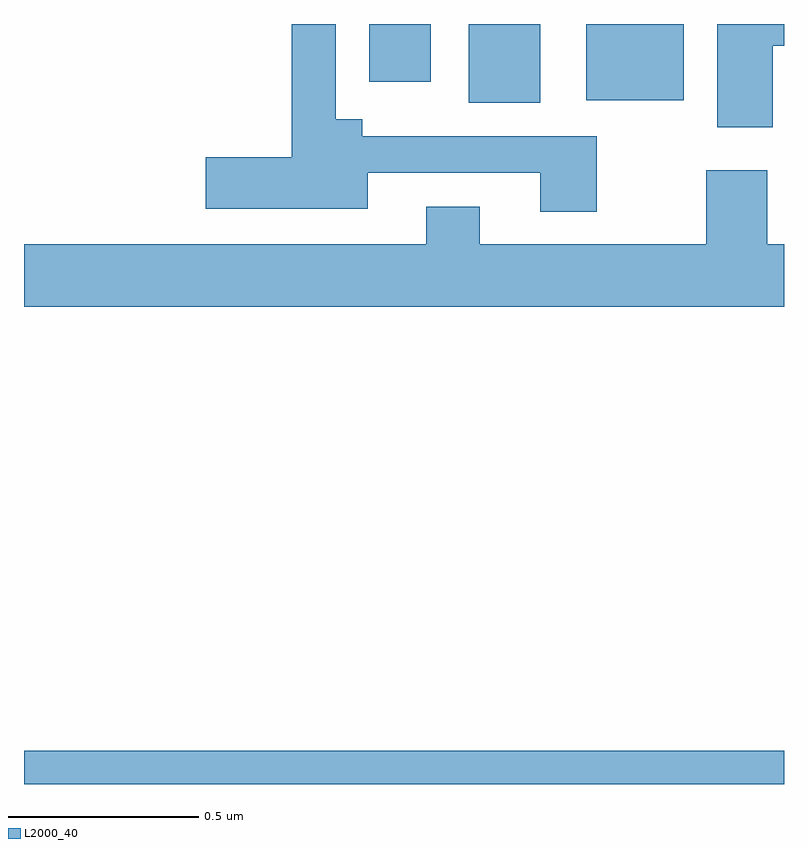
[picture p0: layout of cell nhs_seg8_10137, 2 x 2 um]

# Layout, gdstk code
import gdstk
lib = gdstk.Library(unit=1e-6, precision=1e-09)
def R(c, l, rs):  # rectangles x0, y0, x1, y1
    for r in rs: c.add(gdstk.rectangle(r[:2], r[2:], *l))
def P(c, l, *ps):  # polygons
    for p in ps: c.add(gdstk.Polygon(p, *l))
L2000_40 = (2000, 40)

nhs_seg8_10137 = lib.new_cell('nhs_seg8_10137')
R(nhs_seg8_10137, L2000_40, [(245,1125.9,247,1125.988), (246.17,1127.693,246.358,1127.9), (246.479,1127.699,246.736,1127.9), (245.909,1127.748,246.07,1127.9)])
P(nhs_seg8_10137, L2000_40, [(246.507,1127.604),(245.89,1127.604),(245.89,1127.65),(245.82,1127.65),(245.82,1127.9),(245.704,1127.9),(245.704,1127.549),(245.478,1127.549),(245.478,1127.414),(245.905,1127.414),(245.905,1127.508),(246.359,1127.508),(246.359,1127.406),(246.507,1127.406)],
  [(246.971,1127.843),(247,1127.843),(247,1127.9),(246.824,1127.9),(246.824,1127.628),(246.971,1127.628)],
  [(246.796,1127.515),(246.796,1127.32),(246.199,1127.32),(246.199,1127.419),(246.059,1127.419),(246.059,1127.32),(245,1127.32),(245,1127.156),(247,1127.156),(247,1127.32),(246.956,1127.32),(246.956,1127.515)])

lib.write_gds('nhs_seg8_10137.gds')
